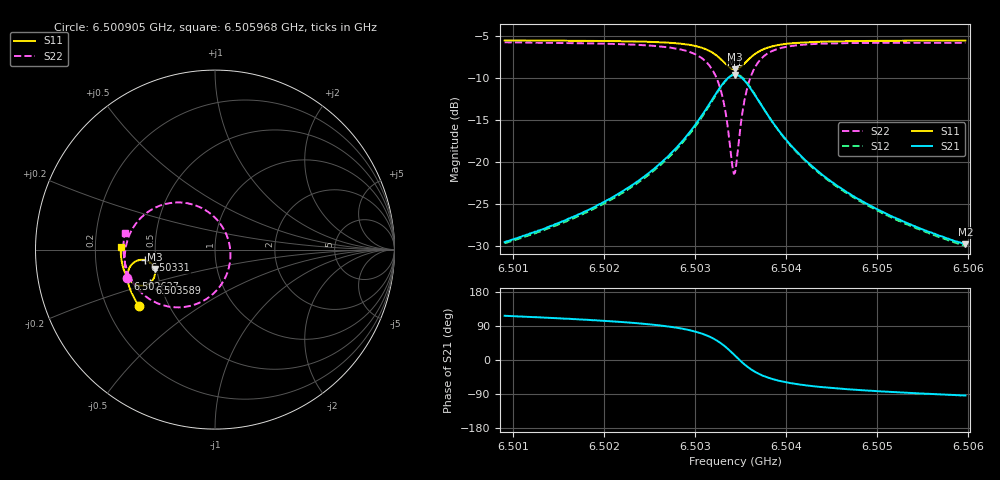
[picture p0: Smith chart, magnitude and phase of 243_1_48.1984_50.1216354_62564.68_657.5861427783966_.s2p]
#  HZ  S  RI  R  50.00
! Rohde & Schwarz Vector Network Analyzer
! Rohde-Schwarz,ZNB20-2Port,1311601062101988,3.16
! Created: UTC 3/20/2024, 11:46:56 AM
! freq[Hz]  re:S11  im:S11  re:S21  im:S21  re:S12  im:S12  re:S22  im:S22
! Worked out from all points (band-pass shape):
!   401 points, 6.500905 GHz to 6.505968 GHz, reference 50 ohm
!   highest |S21| = -9.65 dB at 6.503437 GHz (marker M1); lowest = -29.8 dB at 6.505968 GHz (marker M2)
!   |S21| within 3 dB of the highest: 6.503183 GHz to 6.50369 GHz (506.6 kHz wide, 0.00779 % of centre)
!   lowest |S11| = -9.0 dB at 6.503437 GHz (marker M3), VSWR 2.10, Z = 24.3 - j5.98 ohm
!   |S11| at or under -10 dB: nowhere
!   |S22| runs from -21.4 to -5.8 dB; largest |S21 - S12| = 0.011
!   S11 on the Smith chart (normalised r, x): 6.500905 GHz: 0.34, -0.29; 6.502627 GHz: 0.33, -0.15; 6.50331 GHz: 0.44, -0.06; 6.503589 GHz: 0.44, -0.20; 6.505968 GHz: 0.31, +0.01
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6.5009051e9  -0.4242 -0.3121  -0.0149 0.0297  -0.0132 0.03  -0.4888 -0.158
6.5017532e9  -0.4609 -0.2497  -0.0144 0.0473  -0.012 0.047  -0.5025 -0.0687
6.5022215e9  -0.4776 -0.2085  -0.0115 0.0668  -0.0084 0.0657  -0.4998 -0.0026
6.5026013e9  -0.4868 -0.1669  -0.00241 0.0962  0.00111 0.0938  -0.4806 0.0727
6.5026266e9  -0.487 -0.1636  -0.00127 0.0989  0.00232 0.0965  -0.4781 0.0789
6.5029177e9  -0.4833 -0.1189  0.0259 0.1426  0.0296 0.1384  -0.4215 0.168
6.5031076e9  -0.4622 -0.0808  0.0801 0.1846  0.0825 0.1785  -0.3178 0.2404
6.5032215e9  -0.4297 -0.0602  0.1492 0.2023  0.15 0.1959  -0.1934 0.2626
6.5033101e9  -0.3892 -0.0585  0.2287 0.1856  0.2289 0.1807  -0.0561 0.2216
6.5033481e9  -0.3699 -0.0662  0.2648 0.1625  0.2656 0.158  0.00362 0.1744
6.5034114e9  -0.3432 -0.0929  0.3124 0.0983  0.315 0.0934  0.0752 0.0509
6.5034367e9  -0.337 -0.1077  0.3224 0.066  0.3256 0.0603  0.0856 -0.00947
6.503462e9  -0.334 -0.1234  0.3259 0.0324  0.3294 0.0253  0.0832 -0.071
6.5035253e9  -0.3414 -0.1605  0.3073 -0.0454  0.3095 -0.0555  0.027 -0.2058
6.5035886e9  -0.3628 -0.1863  0.2642 -0.0993  0.2631 -0.1105  -0.0702 -0.2881
6.5036899e9  -0.4022 -0.2014  0.1896 -0.1353  0.1843 -0.1445  -0.2202 -0.3215
6.5038544e9  -0.4482 -0.1916  0.1081 -0.1319  0.1011 -0.1369  -0.3669 -0.2746
6.5040316e9  -0.4755 -0.1703  0.0636 -0.1118  0.0576 -0.114  -0.4388 -0.2096
6.5042848e9  -0.4961 -0.1403  0.0339 -0.0876  0.029 -0.0879  -0.4818 -0.1375
6.5046645e9  -0.5118 -0.1009  0.0148 -0.0642  0.0115 -0.0639  -0.5041 -0.0626
6.5051328e9  -0.5212 -0.0576  0.00509 -0.0478  0.00279 -0.0471  -0.5103 0.00305
6.5059683e9  -0.5259 0.0129  -0.00212 -0.0321  -0.00332 -0.0313  -0.5022 0.0912
